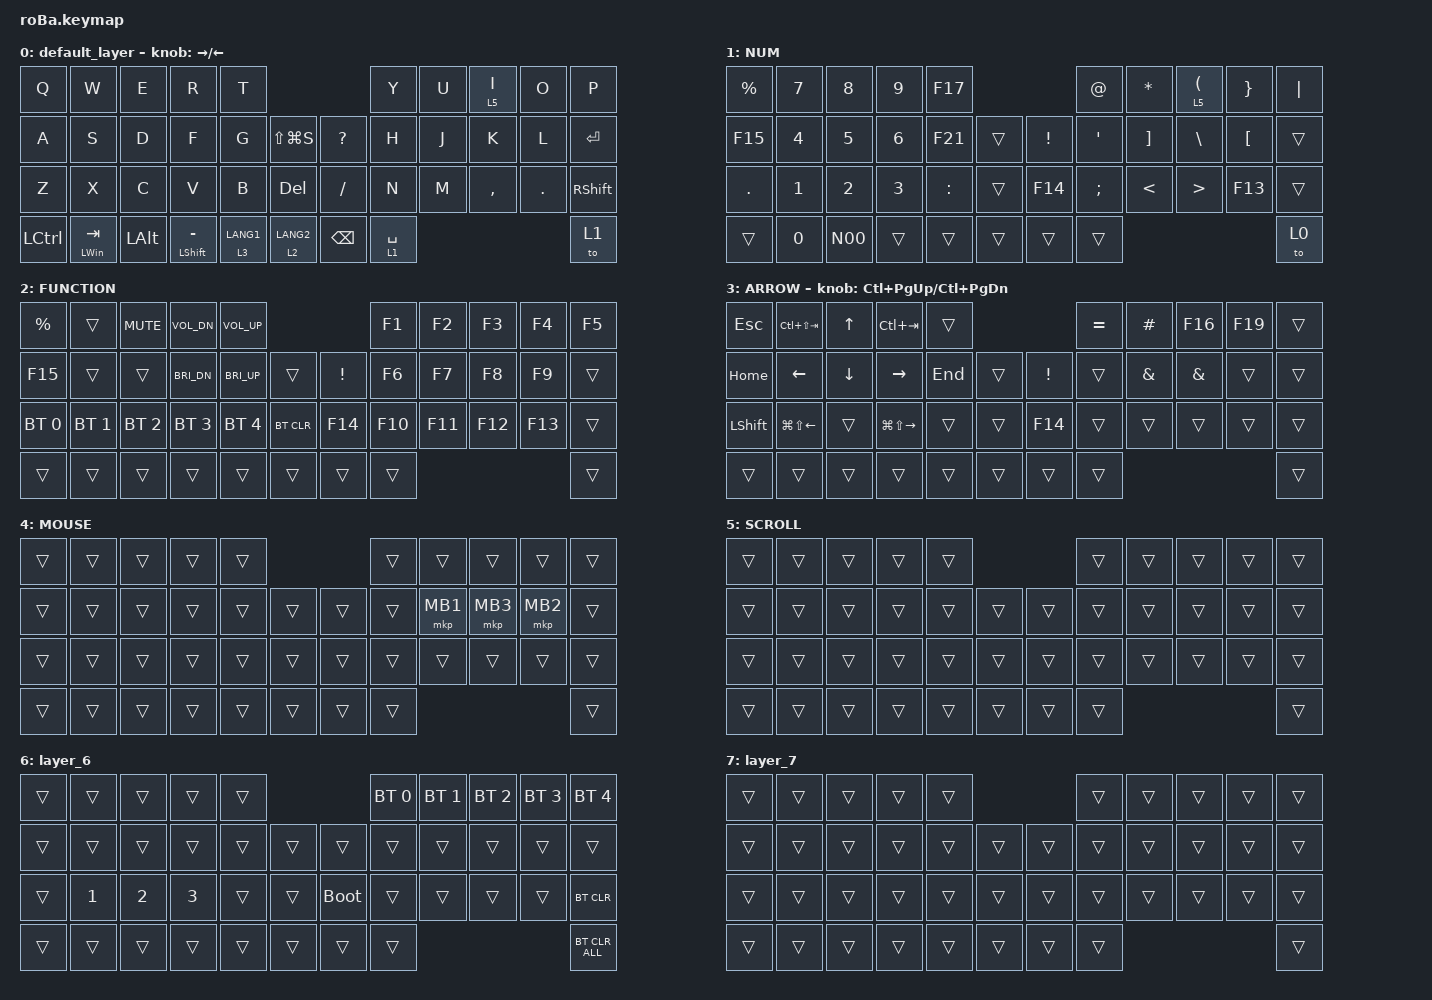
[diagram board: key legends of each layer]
#include <behaviors.dtsi>
#include <dt-bindings/zmk/bt.h>
#include <dt-bindings/zmk/keys.h>
#include <dt-bindings/zmk/pointing.h>

&mt {
    flavor = "balanced";
    quick-tap-ms = <0>;
};

&trackball {
    automouse-layer = <4>;
    scroll-layers = <5>;

    // arrows {
    //     layers = <3>;
    //     bindings =
    //         <&kp RIGHT_ARROW>,
    //         <&kp LEFT_ARROW>,
    //         <&kp UP_ARROW>,
    //         <&kp DOWN_ARROW>;
    //     tick = <10>;
    //     wait-ms = <5>;
    //     tap-ms = <5>;
    // };
};

/ {
    combos {
        compatible = "zmk,combos";

        tab {
            bindings = <&kp TAB>;
            key-positions = <11 12>;
        };

        shift_tab {
            bindings = <&kp LS(TAB)>;
            key-positions = <12 13>;
        };
    };

    macros {
        N00: N00 {
            compatible = "zmk,behavior-macro";
            #binding-cells = <0>;
            bindings = <&kp N0 &kp N0>;
            label = "N00";
        };
    };

    keymap {
        compatible = "zmk,keymap";

        default_layer {
            bindings = <
&kp Q      &kp W             &kp E         &kp R                 &kp T                                          &kp Y        &kp U  &lt 5 I    &kp O    &kp P
&kp A      &kp S             &kp D         &kp F                 &kp G        &kp LS(LG(S))      &kp QUESTION   &kp H        &kp J  &kp K      &kp L    &kp ENTER
&kp Z      &kp X             &kp C         &kp V                 &kp B        &kp DELETE         &kp SLASH      &kp N        &kp M  &kp COMMA  &kp DOT  &kp RIGHT_SHIFT
&kp LCTRL  &mt LEFT_WIN TAB  &kp LEFT_ALT  &mt LEFT_SHIFT MINUS  &lt 3 LANG1  &lt 2 LANG2        &kp BACKSPACE  &lt 1 SPACE                             &to 1
            >;

            sensor-bindings = <&inc_dec_kp RIGHT LEFT>;
        };

        NUM {
            bindings = <
&kp PERCENT  &kp N7  &kp N8  &kp N9  &kp F17                                 &kp AT_SIGN    &kp ASTERISK  &lt 5 LPAR     &kp RIGHT_BRACE  &kp PIPE
&kp F15      &kp N4  &kp N5  &kp N6  &kp F21    &trans      &kp EXCLAMATION  &kp SQT        &kp RBKT      &kp BACKSLASH  &kp LBKT         &trans
&kp PERIOD   &kp N1  &kp N2  &kp N3  &kp COLON  &trans      &kp F14          &kp SEMICOLON  &kp LT        &kp GT         &kp F13          &trans
&trans       &kp N0  &N00    &trans  &trans     &trans      &trans           &trans                                                       &to 0
            >;
        };

        FUNCTION {
            bindings = <
&kp PERCENT   &trans        &kp K_MUTE    &kp C_VOL_DN  &kp C_VOL_UP                                   &kp F1   &kp F2   &kp F3   &kp F4   &kp F5
&kp F15       &trans        &trans        &kp C_BRI_DN  &kp C_BRI_UP  &trans          &kp EXCLAMATION  &kp F6   &kp F7   &kp F8   &kp F9   &trans
&bt BT_SEL 0  &bt BT_SEL 1  &bt BT_SEL 2  &bt BT_SEL 3  &bt BT_SEL 4  &bt BT_CLR      &kp F14          &kp F10  &kp F11  &kp F12  &kp F13  &trans
&trans        &trans        &trans        &trans        &trans        &trans          &trans           &trans                              &trans
            >;
        };

        ARROW {
            bindings = <
&kp ESCAPE      &kp LC(LS(TAB))         &kp UP_ARROW    &kp LC(TAB)              &trans                                &kp EQUAL  &kp HASH  &kp F16        &kp F19  &trans
&kp HOME        &kp LEFT_ARROW          &kp DOWN_ARROW  &kp RIGHT_ARROW          &kp END  &trans      &kp EXCLAMATION  &trans     &kp AMPS  &kp AMPERSAND  &trans   &trans
&kp LEFT_SHIFT  &kp LG(LS(LEFT_ARROW))  &trans          &kp LG(LS(RIGHT_ARROW))  &trans   &trans      &kp F14          &trans     &trans    &trans         &trans   &trans
&trans          &trans                  &trans          &trans                   &trans   &trans      &trans           &trans                                       &trans
            >;

            sensor-bindings = <&inc_dec_kp LC(PAGE_UP) LC(PAGE_DOWN)>;
        };

        MOUSE {
            bindings = <
&trans  &trans  &trans  &trans  &trans                      &trans  &trans    &trans    &trans    &trans
&trans  &trans  &trans  &trans  &trans  &trans      &trans  &trans  &mkp MB1  &mkp MB3  &mkp MB2  &trans
&trans  &trans  &trans  &trans  &trans  &trans      &trans  &trans  &trans    &trans    &trans    &trans
&trans  &trans  &trans  &trans  &trans  &trans      &trans  &trans                                &trans
            >;
        };

        SCROLL {
            bindings = <
&trans  &trans  &trans  &trans  &trans                      &trans  &trans  &trans  &trans  &trans
&trans  &trans  &trans  &trans  &trans  &trans      &trans  &trans  &trans  &trans  &trans  &trans
&trans  &trans  &trans  &trans  &trans  &trans      &trans  &trans  &trans  &trans  &trans  &trans
&trans  &trans  &trans  &trans  &trans  &trans      &trans  &trans                          &trans
            >;
        };

        layer_6 {
            bindings = <
&trans  &trans        &trans        &trans        &trans                           &bt BT_SEL 0  &bt BT_SEL 1  &bt BT_SEL 2  &bt BT_SEL 3  &bt BT_SEL 4
&trans  &trans        &trans        &trans        &trans  &trans      &trans       &trans        &trans        &trans        &trans        &trans
&trans  &kp NUMBER_1  &kp NUMBER_2  &kp NUMBER_3  &trans  &trans      &bootloader  &trans        &trans        &trans        &trans        &bt BT_CLR
&trans  &trans        &trans        &trans        &trans  &trans      &trans       &trans                                                  &bt BT_CLR_ALL
            >;
        };

        layer_7 {
            bindings = <
&trans  &trans  &trans  &trans  &trans                      &trans  &trans  &trans  &trans  &trans
&trans  &trans  &trans  &trans  &trans  &trans      &trans  &trans  &trans  &trans  &trans  &trans
&trans  &trans  &trans  &trans  &trans  &trans      &trans  &trans  &trans  &trans  &trans  &trans
&trans  &trans  &trans  &trans  &trans  &trans      &trans  &trans                          &trans
            >;
        };
    };
};
